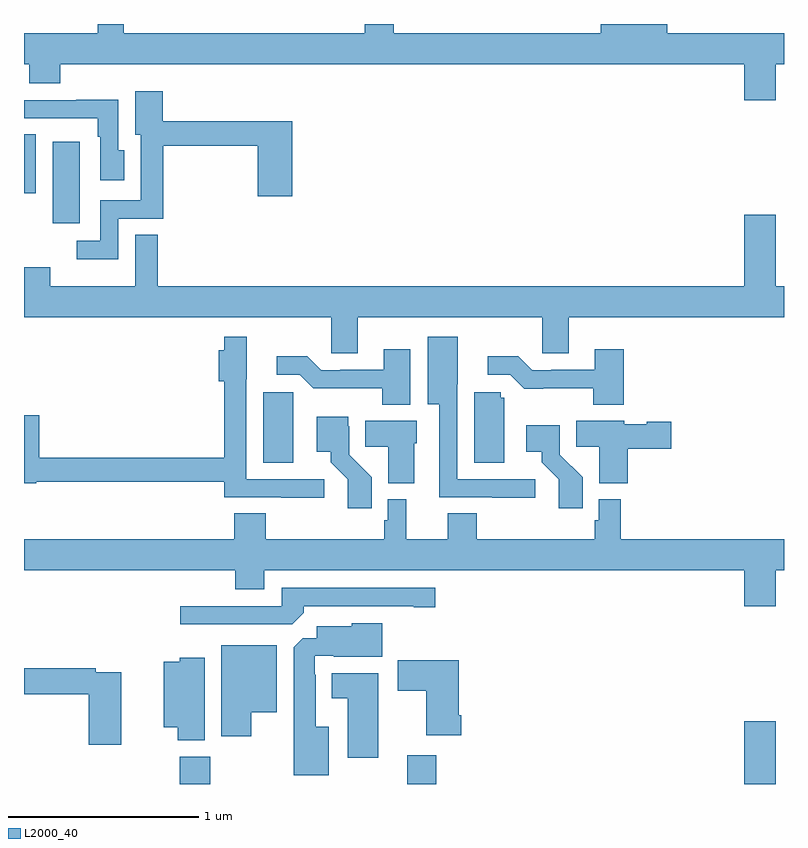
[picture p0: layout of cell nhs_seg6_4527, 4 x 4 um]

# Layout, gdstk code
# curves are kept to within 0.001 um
import gdstk
lib = gdstk.Library(unit=1e-6, precision=1e-09)
def R(c, l, rs):  # rectangles x0, y0, x1, y1
    for r in rs: c.add(gdstk.rectangle(r[:2], r[2:], *l))
def P(c, l, *ps):  # polygons
    for p in ps: c.add(gdstk.Polygon(p, *l))
L2000_40 = (2000, 40)

nhs_seg6_4527 = lib.new_cell('nhs_seg6_4527')
R(nhs_seg6_4527, L2000_40, [(377.819,991.5,377.979,991.644), (379.016,991.5,379.169,991.651), (380.792,991.5,380.956,991.831), (378.26,993.19,378.418,993.561), (377.15,994.452,377.293,994.879), (377,994.608,377.062,994.919)])
P(nhs_seg6_4527, L2000_40, [(380.956,995.288),(381,995.288),(381,995.452),(380.386,995.452),(380.386,995.5),(380.036,995.5),(380.036,995.452),(378.946,995.452),(378.946,995.5),(378.794,995.5),(378.794,995.452),(377.525,995.452),(377.525,995.5),(377.389,995.5),(377.389,995.452),(377,995.452),(377,995.288),(377.027,995.288),(377.027,995.189),(377.192,995.189),(377.192,995.288),(380.792,995.288),(380.792,995.1),(380.956,995.1)],
  [(377.496,994.476),(377.734,994.476),(377.734,994.858),(378.23,994.858),(378.23,994.593),(378.413,994.593),(378.413,994.987),(377.729,994.987),(377.729,995.146),(377.585,995.146),(377.585,994.917),(377.615,994.917),(377.615,994.572),(377.4,994.572),(377.4,994.359),(377.277,994.359),(377.277,994.262),(377.496,994.262)],
  [(377.527,994.836),(377.496,994.836),(377.496,995.102),(377.275,995.102),(377.275,995.1),(377,995.1),(377,995.004),(377.388,995.004),(377.388,994.907),(377.4,994.907),(377.4,994.677),(377.527,994.677)],
  [(378.757,993.956),(379.728,993.956),(379.728,993.766),(379.867,993.766),(379.867,993.956),(381,993.956),(381,994.12),(380.956,994.12),(380.956,994.495),(380.792,994.495),(380.792,994.12),(377.704,994.12),(377.704,994.391),(377.585,994.391),(377.585,994.12),(377.139,994.12),(377.139,994.219),(377,994.219),(377,993.956),(378.618,993.956),(378.618,993.766),(378.757,993.766)],
  [(379.69,993.105),(379.281,993.105),(379.281,993.604),(379.282,993.604),(379.282,993.853),(379.124,993.853),(379.124,993.5),(379.185,993.5),(379.185,993.009),(379.465,993.009),(379.465,993.007),(379.69,993.007)],
  [(378.58,993.105),(378.171,993.105),(378.171,993.63),(378.172,993.63),(378.172,993.853),(378.055,993.853),(378.055,993.784),(378.026,993.784),(378.026,993.619),(378.055,993.619),(378.055,993.218),(377.081,993.218),(377.081,993.442),(377,993.442),(377,993.082),(377.064,993.082),(377.064,993.09),(378.055,993.09),(378.055,993.009),(378.355,993.009),(378.355,993.007),(378.58,993.007)],
  [(379.033,993.787),(378.893,993.787),(378.893,993.681),(378.664,993.681),(378.664,993.678),(378.564,993.678),(378.491,993.751),(378.33,993.751),(378.33,993.654),(378.45,993.654),(378.523,993.582),(378.886,993.582),(378.886,993.497),(379.033,993.497)],
  [(380.156,993.787),(380.003,993.787),(380.003,993.681),(379.774,993.681),(379.774,993.678),(379.674,993.678),(379.601,993.751),(379.44,993.751),(379.44,993.654),(379.56,993.654),(379.633,993.581),(379.996,993.582),(379.996,993.497),(380.156,993.497)],
  [(379.528,993.534),(379.509,993.534),(379.509,993.561),(379.37,993.561),(379.37,993.19),(379.528,993.19)],
  [(378.83,993.114),(378.711,993.233),(378.711,993.384),(378.706,993.384),(378.706,993.433),(378.542,993.433),(378.542,993.248),(378.614,993.248),(378.614,993.193),(378.705,993.103),(378.705,992.952),(378.83,992.952)],
  [(379.054,993.294),(379.066,993.294),(379.066,993.412),(378.796,993.412),(378.796,993.274),(378.917,993.274),(378.917,993.083),(379.054,993.083)],
  [(380.177,993.265),(380.407,993.265),(380.407,993.407),(380.277,993.407),(380.277,993.394),(380.16,993.394),(380.16,993.412),(379.906,993.412),(379.906,993.274),(380.027,993.274),(380.027,993.083),(380.177,993.083)],
  [(379.94,993.114),(379.821,993.233),(379.821,993.388),(379.644,993.388),(379.644,993.248),(379.724,993.248),(379.724,993.193),(379.815,993.103),(379.815,992.952),(379.94,992.952)],
  [(380.956,992.624),(381,992.624),(381,992.788),(380.141,992.788),(380.141,992.998),(380.025,992.998),(380.025,992.889),(380.005,992.889),(380.005,992.788),(379.382,992.788),(379.382,992.924),(379.229,992.924),(379.229,992.788),(379.012,992.788),(379.012,992.998),(378.915,992.998),(378.915,992.889),(378.895,992.889),(378.895,992.788),(378.272,992.788),(378.272,992.924),(378.107,992.924),(378.107,992.788),(377,992.788),(377,992.624),(378.113,992.624),(378.113,992.525),(378.265,992.525),(378.265,992.624),(380.792,992.624),(380.792,992.436),(380.956,992.436)],
  [(378.473,992.402),(378.473,992.436),(379.052,992.436),(379.052,992.431),(379.165,992.431),(379.165,992.532),(378.357,992.532),(378.357,992.436),(377.823,992.436),(377.823,992.34),(378.411,992.34)],
  [(378.604,991.801),(378.535,991.801),(378.535,992.075),(378.531,992.075),(378.531,992.175),(378.631,992.175),(378.631,992.171),(378.886,992.171),(378.886,992.347),(378.726,992.347),(378.726,992.329),(378.542,992.329),(378.542,992.268),(378.468,992.268),(378.419,992.219),(378.419,991.547),(378.604,991.547)],
  [(378.196,991.877),(378.331,991.877),(378.331,992.23),(378.038,992.23),(378.038,991.752),(378.196,991.752)],
  [(377.95,992.164),(377.82,992.164),(377.82,992.143),(377.735,992.143),(377.735,991.799),(377.809,991.799),(377.809,991.729),(377.95,991.729)],
  [(379.301,991.861),(379.288,991.861),(379.288,992.152),(378.966,992.152),(378.966,991.99),(379.118,991.99),(379.118,991.757),(379.301,991.757)],
  [(377.512,992.088),(377.378,992.088),(377.378,992.108),(377,992.108),(377,991.972),(377.342,991.972),(377.342,991.707),(377.512,991.707)],
  [(378.865,992.083),(378.62,992.083),(378.62,991.952),(378.704,991.952),(378.704,991.638),(378.865,991.638)])

lib.write_gds('nhs_seg6_4527.gds')
